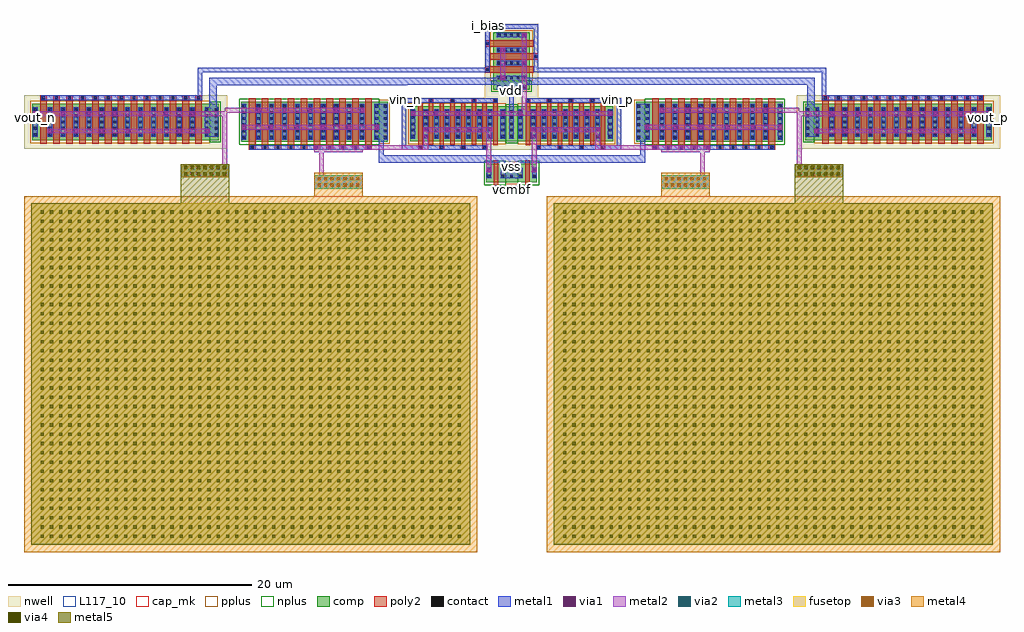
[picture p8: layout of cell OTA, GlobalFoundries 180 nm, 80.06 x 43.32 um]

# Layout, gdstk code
from math import pi, radians
import gdstk
lib = gdstk.Library(unit=1e-6, precision=1e-09)
def R(c, l, rs):  # rectangles x0, y0, x1, y1
    for r in rs: c.add(gdstk.rectangle(r[:2], r[2:], *l))
def A(c, l, x, y, w, h, nx, ny, dx, dy):  # array of equal rectangles
    R(c, l, [(x+i*dx, y+j*dy, x+i*dx+w, y+j*dy+h) for i in range(nx) for j in range(ny)])
nwell = (21, 0)
comp = (22, 0)
poly2 = (30, 0)
pplus = (31, 0)
nplus = (32, 0)
contact = (33, 0)
metal1 = (34, 0)
via1 = (35, 0)
metal2 = (36, 0)
via2 = (38, 0)
via3 = (40, 0)
via4 = (41, 0)
metal3 = (42, 0)
metal4 = (46, 0)
fusetop = (75, 0)
metal5 = (81, 0)
cap_mk = (117, 5)
L117_10 = (117, 10)

via_dev_24_2 = lib.new_cell('via_dev$24$2')
R(via_dev_24_2, metal1, [(0,0,0.4,0.4)])
R(via_dev_24_2, via1, [(0.07,0.07,0.33,0.33)])
R(via_dev_24_2, metal2, [(0,0,0.4,0.4)])

nfet_6_1 = lib.new_cell('nfet$6$1')
R(nfet_6_1, comp, [(-0.42,0,0,3.26), (0,0,10.46,3.26), (10.46,0,10.88,3.26), (10.88,0,11.59,3.26)])
A(nfet_6_1, poly2, 0.19, -0.66, 0.54, 0.36, 10, 1, 1.06, 0)
A(nfet_6_1, poly2, 0.19, -0.3, 0.54, 3.86, 10, 1, 1.06, 0)
R(nfet_6_1, pplus, [(10.88,-0.17,11.76,3.43)])
R(nfet_6_1, nplus, [(-0.59,-0.24,10.88,3.5)])
A(nfet_6_1, contact, 0.35, -0.59, 0.22, 0.22, 10, 1, 1.06, 0)
A(nfet_6_1, contact, -0.32, 0.245, 0.22, 0.22, 1, 6, 0, 0.51)
A(nfet_6_1, contact, 0.88, 0.245, 0.22, 0.22, 9, 6, 1.06, 0.51)
A(nfet_6_1, contact, 10.56, 0.245, 0.22, 0.22, 1, 6, 0, 0.51)
A(nfet_6_1, contact, 11.27, 0.245, 0.22, 0.22, 1, 6, 0, 0.51)
A(nfet_6_1, metal1, 0.27, -0.67, 0.38, 0.38, 10, 1, 1.06, 0)
A(nfet_6_1, metal1, 0.8, 0.165, 0.38, 2.93, 9, 1, 1.06, 0)
R(nfet_6_1, metal1, [(-0.4,0.165,-0.02,3.095), (10.48,0.165,10.86,3.095), (11.19,0.165,11.57,3.095)])

pfet_9_1 = lib.new_cell('pfet$9$1')
R(pfet_9_1, nwell, [(-1.15,-0.69,15.52,3.69)])
R(pfet_9_1, comp, [(-0.46,0,0,3), (0,0,13.64,3), (13.64,0,14.1,3), (14.1,0,14.83,3)])
A(pfet_9_1, poly2, 0.19, -0.3, 0.54, 3.6, 13, 1, 1.06, 0)
A(pfet_9_1, poly2, 0.19, 3.3, 0.54, 0.38, 13, 1, 1.06, 0)
R(pfet_9_1, pplus, [(-0.63,-0.24,14.1,3.24)])
R(pfet_9_1, nplus, [(14.1,-0.17,15,3.17)])
A(pfet_9_1, contact, -0.34, 0.37, 0.22, 0.22, 1, 5, 0, 0.51)
A(pfet_9_1, contact, 0.88, 0.37, 0.22, 0.22, 12, 5, 1.06, 0.51)
A(pfet_9_1, contact, 13.76, 0.37, 0.22, 0.22, 1, 5, 0, 0.51)
A(pfet_9_1, contact, 14.49, 0.37, 0.22, 0.22, 1, 5, 0, 0.51)
A(pfet_9_1, contact, 0.35, 3.38, 0.22, 0.22, 13, 1, 1.06, 0)
A(pfet_9_1, metal1, 0.8, 0.29, 0.38, 2.42, 12, 1, 1.06, 0)
A(pfet_9_1, metal1, 0.27, 3.3, 0.38, 0.38, 13, 1, 1.06, 0)
R(pfet_9_1, metal1, [(-0.42,0.29,-0.04,2.71), (13.68,0.29,14.06,2.71), (14.41,0.29,14.79,2.71)])

via_dev_9 = lib.new_cell('via_dev$9')
R(via_dev_9, metal2, [(0,0,4,1.1)])
A(via_dev_9, via2, 0.28, 0.155, 0.26, 0.26, 7, 2, 0.53, 0.53)
A(via_dev_9, via3, 0.28, 0.155, 0.26, 0.26, 7, 2, 0.53, 0.53)
A(via_dev_9, via4, 0.28, 0.155, 0.26, 0.26, 7, 2, 0.53, 0.53)
R(via_dev_9, metal3, [(0,0,4,1.1)])
R(via_dev_9, metal4, [(0,0,4,1.1)])
R(via_dev_9, metal5, [(0,0,4,1.1)])

via_dev_8 = lib.new_cell('via_dev$8')
R(via_dev_8, metal2, [(0,0,4,1.1)])
A(via_dev_8, via2, 0.28, 0.155, 0.26, 0.26, 7, 2, 0.53, 0.53)
A(via_dev_8, via3, 0.28, 0.155, 0.26, 0.26, 7, 2, 0.53, 0.53)
R(via_dev_8, metal3, [(0,0,4,1.1)])
R(via_dev_8, metal4, [(0,0,4,1.1)])

cap_mim_5_1 = lib.new_cell('cap_mim$5$1')
A(cap_mim_5_1, via4, 0.77, 0.57, 0.26, 0.26, 46, 36, 0.76, 0.76)
R(cap_mim_5_1, metal4, [(-0.6,-0.6,36.6,28.6)])
R(cap_mim_5_1, fusetop, [(0,0,36,28)])
R(cap_mim_5_1, metal5, [(0,0,36,28)])
R(cap_mim_5_1, cap_mk, [(-0.6,-0.6,36.6,28.6)])
R(cap_mim_5_1, L117_10, [(0,0,36,0.1)])

pfet_1_1_1_1 = lib.new_cell('pfet$1$1$1$1')
R(pfet_1_1_1_1, nwell, [(-1.15,-0.69,8.78,3.565)])
R(pfet_1_1_1_1, comp, [(-0.46,0,0,2.875), (0,0,6.9,2.875), (6.9,0,7.36,2.875), (7.36,0,8.09,2.875)])
A(pfet_1_1_1_1, poly2, 0.18, -0.68, 0.38, 0.38, 4, 1, 1.76, 0)
A(pfet_1_1_1_1, poly2, 0.19, -0.3, 0.36, 3.475, 8, 1, 0.88, 0)
A(pfet_1_1_1_1, poly2, 1.06, 3.175, 0.38, 0.38, 4, 1, 1.76, 0)
R(pfet_1_1_1_1, pplus, [(-0.63,-0.24,7.36,3.115)])
R(pfet_1_1_1_1, nplus, [(7.36,-0.17,8.26,3.045)])
A(pfet_1_1_1_1, contact, 0.26, -0.6, 0.22, 0.22, 4, 1, 1.76, 0)
A(pfet_1_1_1_1, contact, -0.34, 0.31, 0.22, 0.22, 1, 5, 0, 0.51)
A(pfet_1_1_1_1, contact, 0.7, 0.31, 0.22, 0.22, 7, 5, 0.88, 0.51)
A(pfet_1_1_1_1, contact, 7.02, 0.31, 0.22, 0.22, 1, 5, 0, 0.51)
A(pfet_1_1_1_1, contact, 7.75, 0.31, 0.22, 0.22, 1, 5, 0, 0.51)
A(pfet_1_1_1_1, contact, 1.14, 3.255, 0.22, 0.22, 4, 1, 1.76, 0)
A(pfet_1_1_1_1, metal1, 0.18, -0.68, 0.38, 0.38, 4, 1, 1.76, 0)
A(pfet_1_1_1_1, metal1, 0.62, 0.23, 0.38, 2.42, 7, 1, 0.88, 0)
A(pfet_1_1_1_1, metal1, 1.06, 3.175, 0.38, 0.38, 4, 1, 1.76, 0)
R(pfet_1_1_1_1, metal1, [(-0.42,0.23,-0.04,2.65), (6.94,0.23,7.32,2.65), (7.67,0.23,8.05,2.65)])

pfet_6_1_1 = lib.new_cell('pfet$6$1$1')
R(pfet_6_1_1, nwell, [(-1.15,-0.69,4.92,3.69)])
R(pfet_6_1_1, comp, [(-0.46,0,0,3), (0,0,3.04,3), (3.04,0,3.5,3), (3.5,0,4.23,3)])
A(pfet_6_1_1, poly2, 0.19, -0.3, 0.54, 3.6, 3, 1, 1.06, 0)
R(pfet_6_1_1, poly2, [(0.19,-0.68,0.73,-0.3), (2.31,-0.68,2.85,-0.3), (1.25,3.3,1.79,3.68)])
R(pfet_6_1_1, pplus, [(-0.63,-0.24,3.5,3.24)])
R(pfet_6_1_1, nplus, [(3.5,-0.17,4.4,3.17)])
A(pfet_6_1_1, contact, -0.34, 0.37, 0.22, 0.22, 1, 5, 0, 0.51)
A(pfet_6_1_1, contact, 0.88, 0.37, 0.22, 0.22, 1, 5, 0, 0.51)
A(pfet_6_1_1, contact, 1.94, 0.37, 0.22, 0.22, 1, 5, 0, 0.51)
A(pfet_6_1_1, contact, 3.16, 0.37, 0.22, 0.22, 1, 5, 0, 0.51)
A(pfet_6_1_1, contact, 3.89, 0.37, 0.22, 0.22, 1, 5, 0, 0.51)
R(pfet_6_1_1, contact, [(0.35,-0.6,0.57,-0.38), (2.47,-0.6,2.69,-0.38), (1.41,3.38,1.63,3.6)])
R(pfet_6_1_1, metal1, [(0.27,-0.68,0.65,-0.3), (2.39,-0.68,2.77,-0.3), (-0.42,0.29,-0.04,2.71), (0.8,0.29,1.18,2.71), (1.86,0.29,2.24,2.71), (3.08,0.29,3.46,2.71), (3.81,0.29,4.19,2.71), (1.33,3.3,1.71,3.68)])

via_dev_11_1_1 = lib.new_cell('via_dev$11$1$1')
R(via_dev_11_1_1, metal1, [(0,0,0.4,0.4)])
R(via_dev_11_1_1, via1, [(0.07,0.07,0.33,0.33)])
R(via_dev_11_1_1, metal2, [(0,0,0.4,0.4)])

nfet_4_1_1 = lib.new_cell('nfet$4$1$1')
R(nfet_4_1_1, comp, [(-0.42,0,0,1.5), (0,0,0.74,1.5), (0.74,0,1.16,1.5), (1.16,0,1.87,1.5)])
R(nfet_4_1_1, poly2, [(0.19,-0.66,0.55,-0.3), (0.19,-0.3,0.55,1.8)])
R(nfet_4_1_1, pplus, [(1.16,-0.17,2.04,1.67)])
R(nfet_4_1_1, nplus, [(-0.59,-0.24,1.16,1.74)])
R(nfet_4_1_1, contact, [(0.26,-0.59,0.48,-0.37), (-0.32,0.385,-0.1,0.605), (0.84,0.385,1.06,0.605), (1.55,0.385,1.77,0.605), (-0.32,0.895,-0.1,1.115), (0.84,0.895,1.06,1.115), (1.55,0.895,1.77,1.115)])
R(nfet_4_1_1, metal1, [(0.18,-0.67,0.56,-0.29), (-0.4,0.305,-0.02,1.195), (0.76,0.305,1.14,1.195), (1.47,0.305,1.85,1.195)])

input_stage = lib.new_cell('input_stage')
R(input_stage, metal1, [(4.02,-10.735,5.06,-9.845), (3.33,-3.02,5.78,-2.64)])
input_stage.add(gdstk.FlexPath([(2.55,-1.79),(2.55,1.73),(6.53,1.73),(6.53,-0.73)], 0.38, ends="flush", simple_path=True, layer=34, datatype=0))  # metal1
input_stage.add(gdstk.FlexPath([(-2.18,-4.33),(-4.28,-4.33),(-4.28,-8.185),(2.33,-8.185)], 0.38, ends="flush", simple_path=True, layer=34, datatype=0))  # metal1
input_stage.add(gdstk.FlexPath([(11.04,-4.33),(13.36,-4.33),(13.36,-8.185),(6.75,-8.185)], 0.38, ends="flush", simple_path=True, layer=34, datatype=0))  # metal1
input_stage.add(gdstk.FlexPath([(4.54,-5.235),(4.54,-3.21)], 0.38, ends="flush", simple_path=True, layer=34, datatype=0))  # metal1
input_stage.add(gdstk.FlexPath([(3.25,-11.52),(5.81,-11.52)], 0.38, ends="flush", simple_path=True, layer=34, datatype=0))  # metal1
input_stage.add(gdstk.FlexPath([(-2.06,-4.33),(3.22,-4.33)], 0.38, ends="flush", simple_path=True, layer=34, datatype=0))  # metal1
input_stage.add(gdstk.FlexPath([(5.84,-4.33),(11.12,-4.33)], 0.38, ends="flush", simple_path=True, layer=34, datatype=0))  # metal1
input_stage.add(gdstk.FlexPath([(5.4,-5.41),(-3.55,-5.41)], 0.4, ends="flush", simple_path=True, layer=36, datatype=0))  # metal2
input_stage.add(gdstk.FlexPath([(12.63,-5.41),(5.27,-5.41)], 0.4, ends="flush", simple_path=True, layer=36, datatype=0))  # metal2
input_stage.add(gdstk.FlexPath([(-2.51,-6.74),(2.77,-6.74)], 0.4, ends="flush", simple_path=True, layer=36, datatype=0))  # metal2
input_stage.add(gdstk.FlexPath([(6.31,-6.74),(11.59,-6.74)], 0.4, ends="flush", simple_path=True, layer=36, datatype=0))  # metal2
input_stage.add(gdstk.FlexPath([(2.67,-10.03),(2.67,-6.74)], 0.4, ends="flush", simple_path=True, layer=36, datatype=0))  # metal2
input_stage.add(gdstk.FlexPath([(6.41,-10.07),(6.41,-6.82)], 0.4, ends="flush", simple_path=True, layer=36, datatype=0))  # metal2
input_stage.add(gdstk.FlexPath([(5.58,-0.21),(5.58,-5.42)], 0.4, ends="flush", simple_path=True, layer=36, datatype=0))  # metal2
input_stage.add(gdstk.FlexPath([(3.81,-0.2),(3.81,-2.48)], 0.4, ends="flush", simple_path=True, layer=36, datatype=0))  # metal2
input_stage.add(gdstk.FlexPath([(5.58,1.02),(5.58,-1.26)], 0.4, ends="flush", simple_path=True, layer=36, datatype=0))  # metal2
input_stage.add(gdstk.Reference(pfet_1_1_1_1, (-3.32,-7.695)))
input_stage.add(gdstk.Reference(pfet_6_1_1, (3.04,0.79), rotation=3*pi/2))
input_stage.add(gdstk.Reference(via_dev_11_1_1, (3.61,-5.61)))
input_stage.add(gdstk.Reference(via_dev_11_1_1, (-0.07,-5.61)))
input_stage.add(gdstk.Reference(via_dev_11_1_1, (1.69,-5.61)))
input_stage.add(gdstk.Reference(via_dev_11_1_1, (-3.75,-5.61)))
input_stage.add(gdstk.Reference(via_dev_11_1_1, (-1.83,-5.61)))
input_stage.add(gdstk.Reference(via_dev_11_1_1, (-2.71,-6.94)))
input_stage.add(gdstk.Reference(via_dev_11_1_1, (-0.95,-6.94)))
input_stage.add(gdstk.Reference(via_dev_11_1_1, (0.81,-6.94)))
input_stage.add(gdstk.Reference(via_dev_11_1_1, (2.57,-6.94)))
input_stage.add(gdstk.Reference(via_dev_11_1_1, (6.21,-10.23)))
input_stage.add(gdstk.Reference(via_dev_11_1_1, (2.47,-10.23)))
input_stage.add(gdstk.Reference(via_dev_11_1_1, (12.43,-5.61)))
input_stage.add(gdstk.Reference(nfet_4_1_1, (6.2,-11.04), rotation=pi, x_reflection=True))
input_stage.add(gdstk.Reference(via_dev_11_1_1, (8.75,-5.61)))
input_stage.add(gdstk.Reference(nfet_4_1_1, (2.88,-11.04)))
input_stage.add(gdstk.Reference(via_dev_11_1_1, (10.51,-5.61)))
input_stage.add(gdstk.Reference(via_dev_11_1_1, (5.07,-5.61)))
input_stage.add(gdstk.Reference(via_dev_11_1_1, (6.99,-5.61)))
input_stage.add(gdstk.Reference(via_dev_11_1_1, (6.11,-6.94)))
input_stage.add(gdstk.Reference(via_dev_11_1_1, (7.87,-6.94)))
input_stage.add(gdstk.Reference(via_dev_11_1_1, (9.63,-6.94)))
input_stage.add(gdstk.Reference(via_dev_11_1_1, (11.39,-6.94)))
input_stage.add(gdstk.Reference(pfet_1_1_1_1, (12.4,-7.695), rotation=pi, x_reflection=True))
input_stage.add(gdstk.Reference(via_dev_11_1_1, (3.61,-2.68)))
input_stage.add(gdstk.Reference(via_dev_11_1_1, (3.61,-0.4)))
input_stage.add(gdstk.Reference(via_dev_11_1_1, (5.38,-1.46)))
input_stage.add(gdstk.Reference(via_dev_11_1_1, (5.38,0.82)))
input_stage.add(gdstk.Label('tail_bias', (3.33,1.73), layer=34, texttype=10))
input_stage.add(gdstk.Label('vin_n', (-4.285,-6.745), layer=34, texttype=10))
input_stage.add(gdstk.Label('vin_p', (13.355,-6.825), layer=34, texttype=10))
input_stage.add(gdstk.Label('load_bias', (3.68,-11.52), layer=34, texttype=10))
input_stage.add(gdstk.Label('vout_n', (6.41,-10.545), layer=34, texttype=10))
input_stage.add(gdstk.Label('vout_p', (2.67,-10.435), layer=34, texttype=10))
input_stage.add(gdstk.Label('vss', (4.54,-10.29), layer=34, texttype=10))
input_stage.add(gdstk.Label('vdd', (4.54,-3.47), layer=34, texttype=10))

ota = lib.new_cell('OTA')
R(ota, metal2, [(-5.06,-7.06,-1.06,-6.84), (23.4,-7.06,27.4,-6.84)])
R(ota, metal4, [(-5.06,-11.27,-1.06,-8.77), (23.4,-11.27,27.4,-8.77)])
R(ota, metal5, [(-16.01,-11.27,-12.01,-8.59), (34.35,-11.27,38.35,-8.59)])
ota.add(gdstk.FlexPath([(-27.25,-2.6),(-14.43,-2.6),(-14.43,-0.33),(9.34,-0.33)], 0.38, ends="flush", simple_path=True, layer=34, datatype=0))  # metal1
ota.add(gdstk.FlexPath([(35.69,-1.255),(2.27,-1.255),(2.27,-1.26),(-0.95,-1.26),(-13.3,-1.26)], 0.6, ends="flush", simple_path=True, layer=34, datatype=0))  # metal1
ota.add(gdstk.FlexPath([(35.69,-0.955),(35.69,-5.8)], 0.6, ends="flush", simple_path=True, layer=34, datatype=0))  # metal1
ota.add(gdstk.FlexPath([(-13.35,-0.96),(-13.35,-5.8)], 0.6, ends="flush", simple_path=True, layer=34, datatype=0))  # metal1
ota.add(gdstk.FlexPath([(49.59,-2.6),(36.77,-2.6),(36.77,-0.33),(13.13,-0.33)], 0.38, ends="flush", simple_path=True, layer=34, datatype=0))  # metal1
ota.add(gdstk.FlexPath([(13.13,0.78),(13.13,-0.33),(13.89,-0.33)], 0.38, ends="flush", simple_path=True, layer=34, datatype=0))  # metal1
ota.add(gdstk.FlexPath([(11.17,-8.53),(11.17,-7.625),(0.45,-7.625)], 0.64, ends="flush", simple_path=True, layer=34, datatype=0))  # metal1
ota.add(gdstk.FlexPath([(0.45,-7.945),(0.45,-3.105)], 0.38, ends="flush", simple_path=True, layer=34, datatype=0))  # metal1
ota.add(gdstk.FlexPath([(-0.6,-6.68),(-10.14,-6.68)], 0.38, ends="flush", simple_path=True, layer=34, datatype=0))  # metal1
ota.add(gdstk.FlexPath([(11.17,-8.53),(11.17,-7.625),(21.89,-7.625)], 0.64, ends="flush", simple_path=True, layer=34, datatype=0))  # metal1
ota.add(gdstk.FlexPath([(21.89,-7.945),(21.89,-3.105)], 0.38, ends="flush", simple_path=True, layer=34, datatype=0))  # metal1
ota.add(gdstk.FlexPath([(22.94,-6.68),(32.48,-6.68)], 0.38, ends="flush", simple_path=True, layer=34, datatype=0))  # metal1
ota.add(gdstk.FlexPath([(23.54,-6.68),(18.19,-6.68),(18.19,-5.23)], 0.4, ends="flush", simple_path=True, layer=36, datatype=0))  # metal2
ota.add(gdstk.FlexPath([(37.44,-3.91),(50.12,-3.91)], 0.4, ends="flush", simple_path=True, layer=36, datatype=0))  # metal2
ota.add(gdstk.FlexPath([(37.4,-3.91),(34.53,-3.91)], 0.4, ends="flush", simple_path=True, layer=36, datatype=0))  # metal2
ota.add(gdstk.FlexPath([(34.73,-3.84),(34.73,-8.725)], 0.4, ends="flush", simple_path=True, layer=36, datatype=0))  # metal2
ota.add(gdstk.FlexPath([(31.91,-3.64),(34.73,-3.64)], 0.4, ends="flush", simple_path=True, layer=36, datatype=0))  # metal2
ota.add(gdstk.FlexPath([(26.8,-6.84),(26.8,-9.365)], 0.4, ends="flush", simple_path=True, layer=36, datatype=0))  # metal2
ota.add(gdstk.FlexPath([(-15.1,-3.91),(-27.78,-3.91)], 0.4, ends="flush", simple_path=True, layer=36, datatype=0))  # metal2
ota.add(gdstk.FlexPath([(-15.06,-3.91),(-12.19,-3.91)], 0.4, ends="flush", simple_path=True, layer=36, datatype=0))  # metal2
ota.add(gdstk.FlexPath([(-12.39,-3.84),(-12.39,-8.725)], 0.4, ends="flush", simple_path=True, layer=36, datatype=0))  # metal2
ota.add(gdstk.FlexPath([(-9.57,-3.64),(-12.39,-3.64)], 0.4, ends="flush", simple_path=True, layer=36, datatype=0))  # metal2
ota.add(gdstk.FlexPath([(-4.46,-6.84),(-4.46,-9.365)], 0.4, ends="flush", simple_path=True, layer=36, datatype=0))  # metal2
ota.add(gdstk.FlexPath([(-1.17,-3.64),(-9.61,-3.64)], 0.4, ends="flush", simple_path=True, layer=36, datatype=0))  # metal2
ota.add(gdstk.FlexPath([(-0.13,-5.03),(-10.81,-5.03)], 0.4, ends="flush", simple_path=True, layer=36, datatype=0))  # metal2
ota.add(gdstk.FlexPath([(-4.84,-6.68),(-0.27,-6.68)], 0.4, ends="flush", simple_path=True, layer=36, datatype=0))  # metal2
ota.add(gdstk.FlexPath([(-14.04,-5.33),(-26.72,-5.33)], 0.4, ends="flush", simple_path=True, layer=36, datatype=0))  # metal2
ota.add(gdstk.FlexPath([(-0.6,-6.68),(4.09,-6.68),(4.09,-5.23)], 0.4, ends="flush", simple_path=True, layer=36, datatype=0))  # metal2
ota.add(gdstk.FlexPath([(23.51,-3.64),(31.95,-3.64)], 0.4, ends="flush", simple_path=True, layer=36, datatype=0))  # metal2
ota.add(gdstk.FlexPath([(22.47,-5.03),(33.15,-5.03)], 0.4, ends="flush", simple_path=True, layer=36, datatype=0))  # metal2
ota.add(gdstk.FlexPath([(27.18,-6.68),(22.61,-6.68)], 0.4, ends="flush", simple_path=True, layer=36, datatype=0))  # metal2
ota.add(gdstk.FlexPath([(36.38,-5.33),(49.06,-5.33)], 0.4, ends="flush", simple_path=True, layer=36, datatype=0))  # metal2
ota.add(gdstk.Reference(via_dev_24_2, (-6.25,-5.23), rotation=pi, x_reflection=True))
ota.add(gdstk.Reference(via_dev_24_2, (-8.37,-5.23), rotation=pi, x_reflection=True))
ota.add(gdstk.Reference(via_dev_24_2, (28.59,-5.23)))
ota.add(gdstk.Reference(via_dev_24_2, (30.71,-5.23)))
ota.add(gdstk.Reference(via_dev_24_2, (22.07,-5.23)))
ota.add(gdstk.Reference(via_dev_24_2, (24.35,-5.23)))
ota.add(gdstk.Reference(via_dev_24_2, (26.47,-5.23)))
ota.add(gdstk.Reference(via_dev_24_2, (32.95,-5.23)))
ota.add(gdstk.Reference(via_dev_24_2, (42.5,-5.53)))
ota.add(gdstk.Reference(via_dev_24_2, (44.62,-5.53)))
ota.add(gdstk.Reference(via_dev_24_2, (46.74,-5.53)))
ota.add(gdstk.Reference(via_dev_24_2, (48.86,-5.53)))
ota.add(gdstk.Reference(via_dev_24_2, (0.27,-5.23), rotation=pi, x_reflection=True))
ota.add(gdstk.Reference(via_dev_24_2, (47.8,-4.11)))
ota.add(gdstk.Reference(via_dev_24_2, (45.68,-4.11)))
ota.add(gdstk.Reference(via_dev_24_2, (43.56,-4.11)))
ota.add(gdstk.Reference(via_dev_24_2, (41.44,-4.11)))
ota.add(gdstk.Reference(via_dev_24_2, (39.32,-4.11)))
ota.add(gdstk.Reference(via_dev_24_2, (37.2,-4.11)))
ota.add(gdstk.Reference(via_dev_24_2, (-2.01,-5.23), rotation=pi, x_reflection=True))
ota.add(gdstk.Reference(via_dev_24_2, (-4.13,-5.23), rotation=pi, x_reflection=True))
ota.add(gdstk.Reference(via_dev_24_2, (-10.61,-5.23), rotation=pi, x_reflection=True))
ota.add(gdstk.Reference(via_dev_24_2, (-20.16,-5.53), rotation=pi, x_reflection=True))
ota.add(gdstk.Reference(via_dev_24_2, (-22.28,-5.53), rotation=pi, x_reflection=True))
ota.add(gdstk.Reference(via_dev_24_2, (-24.4,-5.53), rotation=pi, x_reflection=True))
ota.add(gdstk.Reference(via_dev_24_2, (-26.52,-5.53), rotation=pi, x_reflection=True))
ota.add(gdstk.Reference(via_dev_24_2, (-25.46,-4.11), rotation=pi, x_reflection=True))
ota.add(gdstk.Reference(via_dev_24_2, (-23.34,-4.11), rotation=pi, x_reflection=True))
ota.add(gdstk.Reference(via_dev_24_2, (-21.22,-4.11), rotation=pi, x_reflection=True))
ota.add(gdstk.Reference(via_dev_24_2, (-19.1,-4.11), rotation=pi, x_reflection=True))
ota.add(gdstk.Reference(via_dev_24_2, (-16.98,-4.11), rotation=pi, x_reflection=True))
ota.add(gdstk.Reference(via_dev_24_2, (-14.86,-4.11), rotation=pi, x_reflection=True))
ota.add(gdstk.Reference(nfet_6_1, (-10.6,-6.2)))
ota.add(gdstk.Reference(via_dev_24_2, (-9.41,-3.84), rotation=pi, x_reflection=True))
ota.add(gdstk.Reference(via_dev_24_2, (-13.64,-5.53), rotation=pi, x_reflection=True))
ota.add(gdstk.Reference(via_dev_24_2, (-15.92,-5.53), rotation=pi, x_reflection=True))
ota.add(gdstk.Reference(via_dev_24_2, (-18.04,-5.53), rotation=pi, x_reflection=True))
ota.add(gdstk.Reference(nfet_6_1, (32.94,-6.2), rotation=pi, x_reflection=True))
ota.add(gdstk.Reference(via_dev_24_2, (31.75,-3.84)))
ota.add(gdstk.Reference(via_dev_24_2, (-0.93,-3.84), rotation=pi, x_reflection=True))
ota.add(gdstk.Reference(via_dev_24_2, (-3.05,-3.84), rotation=pi, x_reflection=True))
ota.add(gdstk.Reference(via_dev_24_2, (-5.17,-3.84), rotation=pi, x_reflection=True))
ota.add(gdstk.Reference(via_dev_24_2, (35.98,-5.53)))
ota.add(gdstk.Reference(via_dev_24_2, (38.26,-5.53)))
ota.add(gdstk.Reference(via_dev_24_2, (40.38,-5.53)))
ota.add(gdstk.Reference(via_dev_24_2, (23.27,-3.84)))
ota.add(gdstk.Reference(via_dev_24_2, (25.39,-3.84)))
ota.add(gdstk.Reference(via_dev_24_2, (27.51,-3.84)))
ota.add(gdstk.Reference(via_dev_24_2, (29.63,-3.84)))
ota.add(gdstk.Reference(via_dev_24_2, (50.08,-4.11)))
ota.add(gdstk.Reference(via_dev_24_2, (-7.29,-3.84), rotation=pi, x_reflection=True))
ota.add(gdstk.Reference(via_dev_24_2, (-27.74,-4.11), rotation=pi, x_reflection=True))
ota.add(gdstk.Reference(via_dev_24_2, (-4.64,-6.88), rotation=pi, x_reflection=True))
ota.add(gdstk.Reference(via_dev_24_2, (-2.52,-6.88), rotation=pi, x_reflection=True))
ota.add(gdstk.Reference(via_dev_24_2, (-1.46,-6.88), rotation=pi, x_reflection=True))
ota.add(gdstk.Reference(via_dev_24_2, (-3.58,-6.88), rotation=pi, x_reflection=True))
ota.add(gdstk.Reference(via_dev_24_2, (-0.4,-6.88), rotation=pi, x_reflection=True))
ota.add(gdstk.Reference(pfet_9_1, (-27.71,-6.09)))
ota.add(gdstk.Reference(via_dev_9, (-12.01,-9.14), rotation=pi, x_reflection=True))
ota.add(gdstk.Reference(via_dev_8, (-1.06,-10.05), rotation=pi, x_reflection=True))
ota.add(gdstk.Reference(cap_mim_5_1, (7.74,-39.27), rotation=pi, x_reflection=True))
ota.add(gdstk.Reference(via_dev_24_2, (26.98,-6.88)))
ota.add(gdstk.Reference(via_dev_24_2, (24.86,-6.88)))
ota.add(gdstk.Reference(via_dev_24_2, (23.8,-6.88)))
ota.add(gdstk.Reference(via_dev_24_2, (25.92,-6.88)))
ota.add(gdstk.Reference(via_dev_24_2, (22.74,-6.88)))
ota.add(gdstk.Reference(pfet_9_1, (50.05,-6.09), rotation=pi, x_reflection=True))
ota.add(gdstk.Reference(via_dev_9, (34.35,-9.14)))
ota.add(gdstk.Reference(via_dev_8, (23.4,-10.05)))
ota.add(gdstk.Reference(cap_mim_5_1, (14.6,-39.27)))
ota.add(gdstk.Reference(input_stage, (6.6,1.51)))
ota.add(gdstk.Label('vout_p', (50.285,-4.255), layer=34, texttype=10))
ota.add(gdstk.Label('i_bias', (9.235,3.325), layer=34, texttype=10))
ota.add(gdstk.Label('vout_n', (-27.94,-4.255), layer=34, texttype=10))
ota.add(gdstk.Label('vin_n', (2.4,-2.74), layer=34, texttype=10))
ota.add(gdstk.Label('vss', (11.105,-8.205), layer=34, texttype=10))
ota.add(gdstk.Label('vcmbf', (11.155,-10.105), layer=34, texttype=10))
ota.add(gdstk.Label('vdd', (11.16,-2.02), layer=34, texttype=10))
ota.add(gdstk.Label('vin_p', (19.83,-2.74), layer=34, texttype=10))

lib.write_gds('OTA.gds')
